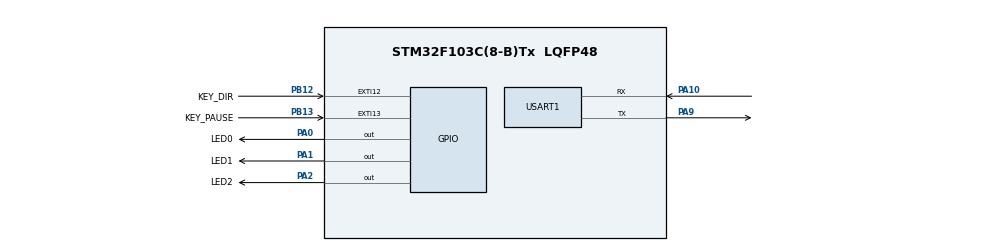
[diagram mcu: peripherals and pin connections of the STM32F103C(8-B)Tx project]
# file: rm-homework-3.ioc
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Mcu.Family=STM32F1
Mcu.Name=STM32F103C(8-B)Tx
Mcu.Package=LQFP48
NVIC.EXTI15_10_IRQn=true\:0\:0\:false\:false\:true\:true\:true\:true
NVIC.PriorityGroup=NVIC_PRIORITYGROUP_4
NVIC.USART1_IRQn=true\:0\:0\:false\:false\:true\:true\:true\:true
PA0-WKUP.GPIO_Label=LED0
PA0-WKUP.Signal=GPIO_Output
PA1.GPIO_Label=LED1
PA1.Signal=GPIO_Output
PA10.Mode=Asynchronous
PA10.Signal=USART1_RX
PA13.Mode=Serial_Wire
PA13.Signal=SYS_JTMS-SWDIO
PA14.Mode=Serial_Wire
PA14.Signal=SYS_JTCK-SWCLK
PA2.GPIO_Label=LED2
PA2.Signal=GPIO_Output
PA9.Mode=Asynchronous
PA9.Signal=USART1_TX
PB12.GPIO_Label=KEY_DIR
PB12.GPIO_ModeDefaultEXTI=GPIO_MODE_IT_FALLING
PB12.GPIO_PuPd=GPIO_PULLUP
PB12.Signal=GPXTI12
PB13.GPIO_Label=KEY_PAUSE
PB13.GPIO_ModeDefaultEXTI=GPIO_MODE_IT_FALLING
PB13.GPIO_PuPd=GPIO_PULLUP
PB13.Signal=GPXTI13
ProjectManager.HeapSize=0x200
ProjectManager.StackSize=0x400
ProjectManager.TargetToolchain=CMake
RCC.APB1Freq_Value=8000000
RCC.APB2Freq_Value=8000000
USART1.VirtualMode=VM_ASYNC
board=custom

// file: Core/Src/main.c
/* USER CODE BEGIN Header */
/**
  ******************************************************************************
  * @file           : main.c
  * @brief          : Main program body
  ******************************************************************************
  * @attention
  *
  * Copyright (c) 2026 STMicroelectronics.
  * All rights reserved.
  *
  * This software is licensed under terms that can be found in the LICENSE file
  * in the root directory of this software component.
  * If no LICENSE file comes with this software, it is provided AS-IS.
  *
  ******************************************************************************
  */
/* USER CODE END Header */
#include "main.h"

/* USER CODE BEGIN Includes */
#include "OLED.h"
#include <stdio.h>
/* USER CODE END Includes */

/* USER CODE BEGIN PTD */
typedef struct __attribute__((packed))
{
  uint8_t header;     // 帧头 0xAA
  uint8_t run;        // 0=暂停 1=运行
  uint8_t dir;        // 0=正向 1=反向
  uint16_t step;      // 间隔 100~2000 ms，低字节在前
  uint8_t check;      // 前 5 字节之和的低 8 位
} CtrlPacket;
/* USER CODE END PTD */

UART_HandleTypeDef huart1;

/* USER CODE BEGIN PV */
CtrlPacket rx_packet;                 // 接收缓冲区，必须一直是全局变量
volatile uint8_t packet_ready = 0;    // 收满一包
volatile uint8_t dir_key_flag = 0;    // 方向键事件
volatile uint8_t pause_key_flag = 0;  // 暂停键事件

uint8_t run_state = 1;      // 1=运行，0=暂停
uint8_t direction = 0;      // 0=正向，1=反向
uint16_t step_ms = 300;     // 切换间隔
uint8_t led_index = 0;      // 当前点亮的 LED 编号 0~2
uint32_t last_step_tick = 0;// 上一次切灯的时间

volatile uint8_t tx_busy = 0;       // 串口中断发送是否正在进行
volatile uint8_t feedback_pending = 0; // 是否有反馈等待发送
uint8_t tx_buf[64];                 // 发送缓冲区，必须是全局变量
/* USER CODE END PV */

void SystemClock_Config(void);
static void MX_GPIO_Init(void);
static void MX_USART1_UART_Init(void);
/* USER CODE BEGIN PFP */
void Update_LEDs(void);
void Update_OLED(void);
void Request_Feedback(void);
void Try_Send_Feedback(void);
/* USER CODE END PFP */

int main(void)
{

  /* MCU Configuration--------------------------------------------------------*/

  /* Reset of all peripherals, Initializes the Flash interface and the Systick. */
  HAL_Init();

  /* Configure the system clock */
  SystemClock_Config();

  /* Initialize all configured peripherals */
  MX_GPIO_Init();
  MX_USART1_UART_Init();
  /* USER CODE BEGIN 2 */
  OLED_Init();   // 内部已经清屏，不用再调用 OLED_Clear()

  Update_LEDs();
  Update_OLED();

  last_step_tick = HAL_GetTick();
  HAL_UART_Receive_IT(&huart1, (uint8_t *)&rx_packet, (uint16_t)sizeof(rx_packet));
  /* USER CODE END 2 */

  /* Infinite loop */
  while (1)
  {

    /* USER CODE BEGIN 3 */
    // 1. 处理方向键
  if (dir_key_flag) {
    dir_key_flag = 0;
    direction = !direction;
    Update_OLED();
    Request_Feedback();
  }

  // 2. 处理暂停/继续键
  if (pause_key_flag) {
    pause_key_flag = 0;
    run_state = !run_state;
    last_step_tick = HAL_GetTick();
    Update_OLED();
    Request_Feedback();
  }

  // 3. 处理串口数据包
  if (packet_ready) {
    CtrlPacket packet = rx_packet;   // 先复制出来，再清标志
    packet_ready = 0;

    const uint8_t *bytes = (const uint8_t *)&packet;
    uint8_t check = (uint8_t)(bytes[0] + bytes[1] + bytes[2] + bytes[3] + bytes[4]);

    if (packet.header == 0xAA &&
      packet.run <= 1 &&
      packet.dir <= 1 &&
      packet.step >= 100 && packet.step <= 2000 &&
      packet.check == check) {      // 五项全过才执行，任何一项不对就丢掉这包

      run_state = packet.run;
      direction = packet.dir;
      step_ms = packet.step;
      last_step_tick = HAL_GetTick();

      Update_OLED();
      Request_Feedback();
    }
    // 校验不通过就什么都不做，但接收必须重新启动

    HAL_UART_Receive_IT(&huart1, (uint8_t *)&rx_packet, (uint16_t)sizeof(rx_packet));
  }

  // 4. 非阻塞切灯：不使用 HAL_Delay
  if (run_state && (HAL_GetTick() - last_step_tick >= step_ms)) {
    last_step_tick = HAL_GetTick();

    if (direction == 0) {
      led_index = (led_index + 1) % 3;   // 正向：0→1→2→0
    } else {
      led_index = (led_index + 2) % 3;   // 反向：0→2→1→0
    }

    Update_LEDs();
    OLED_ShowNum(4, 6, led_index + 1, 1);   // 只刷新 LED 编号，整屏刷新太慢
  }

  // 5. 有反馈就尝试用串口中断发出去
  Try_Send_Feedback();
  }
  /* USER CODE END 3 */
}

void SystemClock_Config(void)
{
  RCC_OscInitTypeDef RCC_OscInitStruct = {0};
  RCC_ClkInitTypeDef RCC_ClkInitStruct = {0};

  /** Initializes the RCC Oscillators according to the specified parameters
  * in the RCC_OscInitTypeDef structure.
  */
  RCC_OscInitStruct.OscillatorType = RCC_OSCILLATORTYPE_HSI;
  RCC_OscInitStruct.HSIState = RCC_HSI_ON;
  RCC_OscInitStruct.HSICalibrationValue = RCC_HSICALIBRATION_DEFAULT;
  RCC_OscInitStruct.PLL.PLLState = RCC_PLL_NONE;
  if (HAL_RCC_OscConfig(&RCC_OscInitStruct) != HAL_OK)
  {
    Error_Handler();
  }

  /** Initializes the CPU, AHB and APB buses clocks
  */
  RCC_ClkInitStruct.ClockType = RCC_CLOCKTYPE_HCLK|RCC_CLOCKTYPE_SYSCLK
                              |RCC_CLOCKTYPE_PCLK1|RCC_CLOCKTYPE_PCLK2;
  RCC_ClkInitStruct.SYSCLKSource = RCC_SYSCLKSOURCE_HSI;
  RCC_ClkInitStruct.AHBCLKDivider = RCC_SYSCLK_DIV1;
  RCC_ClkInitStruct.APB1CLKDivider = RCC_HCLK_DIV1;
  RCC_ClkInitStruct.APB2CLKDivider = RCC_HCLK_DIV1;

  if (HAL_RCC_ClockConfig(&RCC_ClkInitStruct, FLASH_LATENCY_0) != HAL_OK)
  {
    Error_Handler();
  }
}

static void MX_USART1_UART_Init(void)
{

  huart1.Instance = USART1;
  huart1.Init.BaudRate = 115200;
  huart1.Init.WordLength = UART_WORDLENGTH_8B;
  huart1.Init.StopBits = UART_STOPBITS_1;
  huart1.Init.Parity = UART_PARITY_NONE;
  huart1.Init.Mode = UART_MODE_TX_RX;
  huart1.Init.HwFlowCtl = UART_HWCONTROL_NONE;
  huart1.Init.OverSampling = UART_OVERSAMPLING_16;
  if (HAL_UART_Init(&huart1) != HAL_OK)
  {
    Error_Handler();
  }

}

static void MX_GPIO_Init(void)
{
  GPIO_InitTypeDef GPIO_InitStruct = {0};

  /* GPIO Ports Clock Enable */
  __HAL_RCC_GPIOA_CLK_ENABLE();
  __HAL_RCC_GPIOB_CLK_ENABLE();

  /*Configure GPIO pin Output Level */
  HAL_GPIO_WritePin(GPIOA, LED0_Pin|LED1_Pin|LED2_Pin, GPIO_PIN_RESET);

  /*Configure GPIO pins : LED0_Pin LED1_Pin LED2_Pin */
  GPIO_InitStruct.Pin = LED0_Pin|LED1_Pin|LED2_Pin;
  GPIO_InitStruct.Mode = GPIO_MODE_OUTPUT_PP;
  GPIO_InitStruct.Pull = GPIO_NOPULL;
  GPIO_InitStruct.Speed = GPIO_SPEED_FREQ_LOW;
  HAL_GPIO_Init(GPIOA, &GPIO_InitStruct);

  /*Configure GPIO pin : KEY_DIR_Pin */
  GPIO_InitStruct.Pin = KEY_DIR_Pin;
  GPIO_InitStruct.Mode = GPIO_MODE_IT_FALLING;
  GPIO_InitStruct.Pull = GPIO_PULLUP;
  HAL_GPIO_Init(KEY_DIR_GPIO_Port, &GPIO_InitStruct);

  /*Configure GPIO pin : KEY_PAUSE_Pin */
  GPIO_InitStruct.Pin = KEY_PAUSE_Pin;
  GPIO_InitStruct.Mode = GPIO_MODE_IT_FALLING;
  GPIO_InitStruct.Pull = GPIO_PULLUP;
  HAL_GPIO_Init(KEY_PAUSE_GPIO_Port, &GPIO_InitStruct);

  /* EXTI interrupt init*/
  HAL_NVIC_SetPriority(EXTI15_10_IRQn, 0, 0);
  HAL_NVIC_EnableIRQ(EXTI15_10_IRQn);

}

/* USER CODE BEGIN 4 */

void HAL_GPIO_EXTI_Callback(uint16_t GPIO_Pin)
{
  static uint32_t last_dir_tick = 0;
  static uint32_t last_pause_tick = 0;
  uint32_t now = HAL_GetTick();

  if (GPIO_Pin == KEY_DIR_Pin) {
    // 20ms 内的重复下降沿当作抖动，不重复计数
    if (now - last_dir_tick >= 20) {
      last_dir_tick = now;
      dir_key_flag = 1;
    }
  }
  else if (GPIO_Pin == KEY_PAUSE_Pin) {
    if (now - last_pause_tick >= 20) {
      last_pause_tick = now;
      pause_key_flag = 1;
    }
  }
}

void HAL_UART_RxCpltCallback(UART_HandleTypeDef *huart)
{
  if (huart->Instance == USART1) {
    packet_ready = 1;
  }
}

void HAL_UART_TxCpltCallback(UART_HandleTypeDef *huart)
{
  if (huart->Instance == USART1) {
    tx_busy = 0;
  }
}

void Update_LEDs(void)
{
  // 先全灭，再点亮当前这一颗
  HAL_GPIO_WritePin(GPIOA, GPIO_PIN_0 | GPIO_PIN_1 | GPIO_PIN_2, GPIO_PIN_RESET);

  if (led_index == 0) {
    HAL_GPIO_WritePin(GPIOA, GPIO_PIN_0, GPIO_PIN_SET);
  } else if (led_index == 1) {
    HAL_GPIO_WritePin(GPIOA, GPIO_PIN_1, GPIO_PIN_SET);
  } else {
    HAL_GPIO_WritePin(GPIOA, GPIO_PIN_2, GPIO_PIN_SET);
  }
}

void Update_OLED(void)
{
  char line[17];

  // 字符串末尾补空格，覆盖上一次显示留下的旧字符
  OLED_ShowString(1, 1, run_state ? "STATE: RUN    " : "STATE: PAUSE  ");
  OLED_ShowString(2, 1, direction ? "DIR: REV   " : "DIR: FWD   ");

  snprintf(line, sizeof(line), "STEP: %u ms   ", (unsigned int)step_ms);
  OLED_ShowString(3, 1, line);

  OLED_ShowString(4, 1, "LED: ");
  OLED_ShowNum(4, 6, led_index + 1, 1);
}

void Request_Feedback(void)
{
  feedback_pending = 1;
}

void Try_Send_Feedback(void)
{
  if (!feedback_pending || tx_busy) {
    return;
  }

  int len = snprintf((char *)tx_buf, sizeof(tx_buf),
           "STATE=%s,DIR=%s,STEP=%u,LED=%u\r\n",
           run_state ? "RUN" : "PAUSE",
           direction ? "REV" : "FWD",
           (unsigned int)step_ms,
           (unsigned int)(led_index + 1));

  if (len > 0 && HAL_UART_Transmit_IT(&huart1, tx_buf, (uint16_t)len) == HAL_OK) {
    tx_busy = 1;
    feedback_pending = 0;
  }
}
/* USER CODE END 4 */

void Error_Handler(void)
{
  __disable_irq();
  while (1)
  {
  }
}
